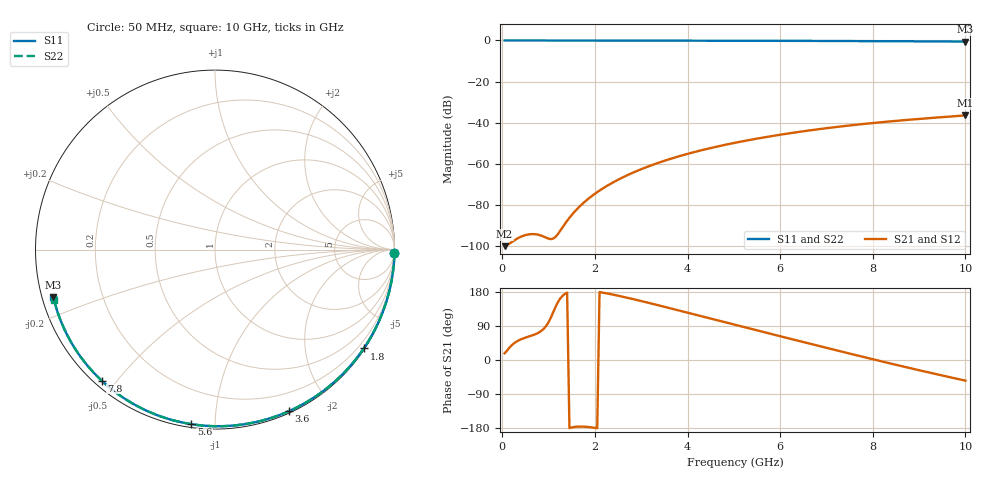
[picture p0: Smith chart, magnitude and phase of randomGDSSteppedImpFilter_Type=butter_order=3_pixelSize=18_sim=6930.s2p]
! freq	dB(S11)	phase(S11)	dB(S12)	phase(S12)
!  dB(S21)	phase(S21)	dB(S22)	phase(S22)
!S-par simulation data
#  GHz  S  DB  R 50
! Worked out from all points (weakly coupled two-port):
!   200 points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, 50 MHz to 10 GHz, reference 50 ohm
!   highest |S21| = -36.51 dB at 10 GHz (marker M1); lowest = -100.2 dB at 50 MHz (marker M2)
!   lowest |S11| = -0.5 dB at 10 GHz (marker M3), VSWR 31.76, Z = 1.61 - j7.15 ohm
!   |S11| at or under -10 dB: nowhere
!   |S22| runs from -0.5 to 0.0 dB; largest |S21 - S12| = 0
!   S11 on the Smith chart (normalised r, x): 50 MHz: open; 1.8 GHz: 0.03, -3.31; 3.6 GHz: 0.02, -1.56; 5.6 GHz: 0.02, -0.87; 7.8 GHz: 0.02, -0.46; 10 GHz: 0.03, -0.14
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0.05  -0.00 -1.0  -100.18 17.7  -100.18 17.7  -0.00 -0.9
0.45  -0.01 -8.5  -95.14 56.9  -95.14 56.9  -0.01 -8.5
0.85  -0.02 -16.1  -95.12 77.5  -95.12 77.5  -0.02 -15.9
1.25  -0.03 -23.5  -92.73 162.1  -92.73 162.1  -0.03 -23.3
1.7  -0.04 -31.8  -80.19 -175.7  -80.19 -175.7  -0.04 -31.5
1.75  -0.04 -32.7  -79.16 -175.8  -79.16 -175.8  -0.04 -32.4
1.8  -0.04 -33.6  -78.17 -176.2  -78.17 -176.2  -0.04 -33.3
2.1  -0.05 -39.0  -73.10 179.2  -73.10 179.2  -0.05 -38.7
2.3  -0.05 -42.6  -70.29 174.8  -70.29 174.8  -0.05 -42.3
2.5  -0.06 -46.2  -67.82 169.7  -67.82 169.7  -0.06 -45.9
2.9  -0.07 -53.3  -63.61 158.5  -63.61 158.5  -0.07 -52.9
3.4  -0.08 -61.9  -59.35 143.5  -59.35 143.5  -0.08 -61.5
3.6  -0.09 -65.3  -57.87 137.3  -57.87 137.3  -0.09 -64.8
4.3  -0.11 -77.0  -53.47 115.4  -53.47 115.4  -0.11 -76.5
5.05  -0.14 -89.1  -49.71 92.0  -49.71 92.0  -0.14 -88.5
5.6  -0.16 -97.8  -47.40 75.0  -47.40 75.0  -0.16 -97.1
6.15  -0.19 -106.3  -45.38 58.1  -45.38 58.1  -0.19 -105.5
6.7  -0.22 -114.6  -43.60 41.2  -43.60 41.2  -0.22 -113.7
7.8  -0.31 -130.9  -40.67 7.9  -40.67 7.9  -0.30 -129.9
8.35  -0.36 -139.0  -39.46 -8.3  -39.46 -8.3  -0.35 -138.0
9.2  -0.45 -151.6  -37.86 -32.6  -37.86 -32.6  -0.44 -150.5
10  -0.55 -163.7  -36.51 -54.4  -36.51 -54.4  -0.54 -162.6
